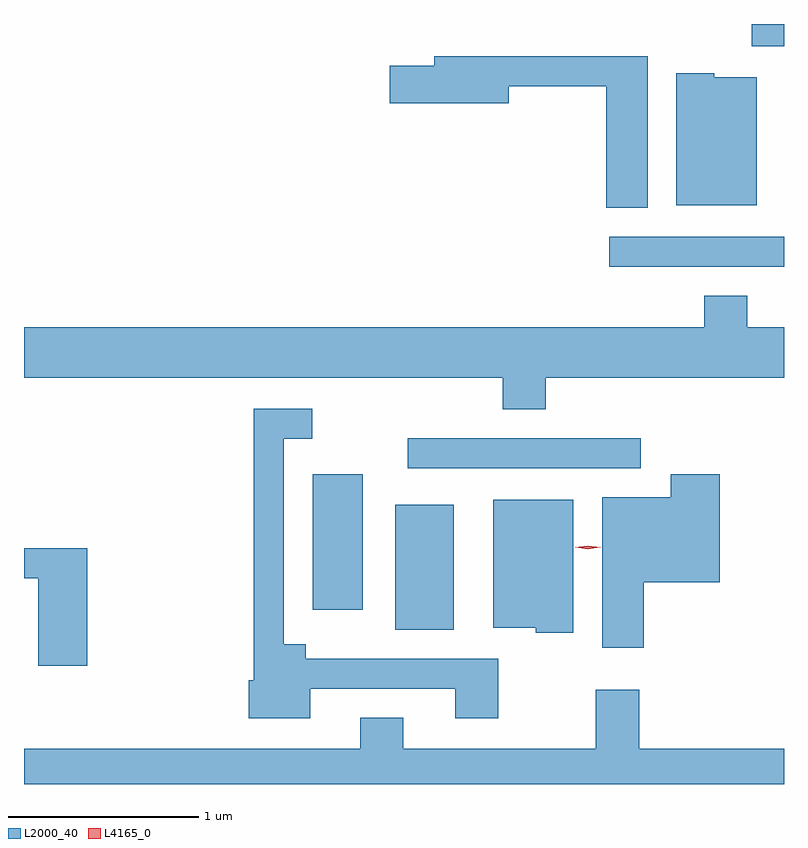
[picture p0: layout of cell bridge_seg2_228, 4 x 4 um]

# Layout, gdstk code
import gdstk
lib = gdstk.Library(unit=1e-6, precision=1e-09)
def R(c, l, rs):  # rectangles x0, y0, x1, y1
    for r in rs: c.add(gdstk.rectangle(r[:2], r[2:], *l))
def P(c, l, *ps):  # polygons
    for p in ps: c.add(gdstk.Polygon(p, *l))
L2000_40 = (2000, 40)
L4165_0 = (4165, 0)

bridge_seg2_228 = lib.new_cell('bridge_seg2_228')
R(bridge_seg2_228, L2000_40, [(610.086,1098.051,610.394,1098.709), (609.651,1098.156,609.914,1098.869), (610.153,1098.901,611.378,1099.059), (611.213,1099.961,612.132,1100.119), (611.961,1101.121,612.132,1101.239)])
P(bridge_seg2_228, L2000_40, [(611.414,1101.069),(610.291,1101.069),(610.291,1101.019),(610.056,1101.019),(610.056,1100.821),(610.684,1100.821),(610.684,1100.911),(611.196,1100.911),(611.196,1100.271),(611.414,1100.271)],
  [(611.989,1100.959),(611.764,1100.959),(611.764,1100.979),(611.566,1100.979),(611.566,1100.286),(611.989,1100.286)],
  [(610.879,1099.376),(612.132,1099.376),(612.132,1099.644),(611.939,1099.644),(611.939,1099.809),(611.711,1099.809),(611.711,1099.644),(608.132,1099.644),(608.132,1099.376),(610.651,1099.376),(610.651,1099.211),(610.879,1099.211)],
  [(609.639,1097.741),(610.401,1097.741),(610.401,1097.586),(610.629,1097.586),(610.629,1097.899),(609.614,1097.899),(609.614,1097.974),(609.499,1097.974),(609.499,1099.056),(609.648,1099.056),(609.648,1099.214),(609.341,1099.214),(609.341,1097.784),(609.316,1097.784),(609.316,1097.586),(609.639,1097.586)],
  [(611.394,1098.301),(611.794,1098.301),(611.794,1098.869),(611.536,1098.869),(611.536,1098.749),(611.176,1098.749),(611.176,1097.956),(611.394,1097.956)],
  [(611.024,1098.734),(610.601,1098.734),(610.601,1098.061),(610.826,1098.061),(610.826,1098.036),(611.024,1098.036)],
  [(608.464,1098.479),(608.132,1098.479),(608.132,1098.321),(608.206,1098.321),(608.206,1097.861),(608.464,1097.861)],
  [(612.132,1097.424),(611.369,1097.424),(611.369,1097.734),(611.141,1097.734),(611.141,1097.424),(610.129,1097.424),(610.129,1097.589),(609.901,1097.589),(609.901,1097.424),(608.132,1097.424),(608.132,1097.239),(612.132,1097.239)])
P(bridge_seg2_228, L4165_0, [(611.1,1098.474),(611.034,1098.484),(611.034,1098.484),(611.034,1098.484),(611.1,1098.494),(611.166,1098.485),(611.167,1098.484),(611.166,1098.484)])

lib.write_gds('bridge_seg2_228.gds')
